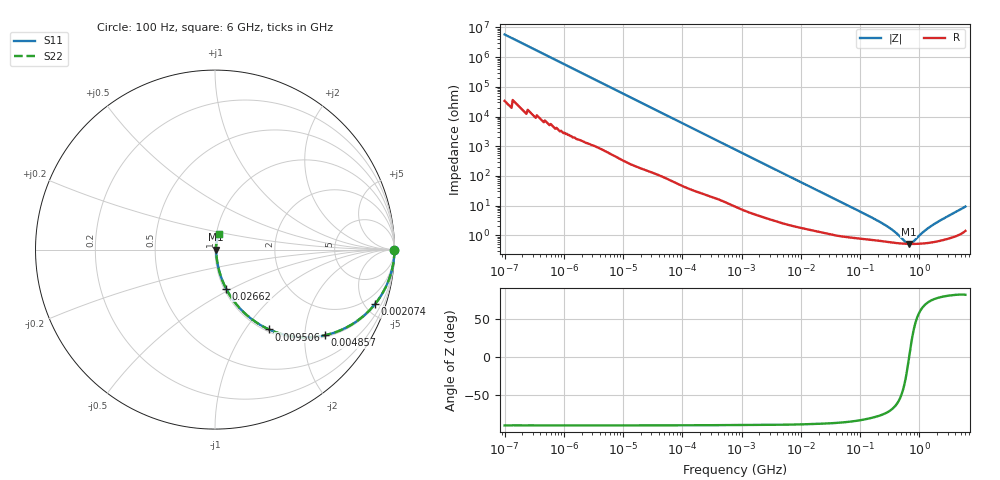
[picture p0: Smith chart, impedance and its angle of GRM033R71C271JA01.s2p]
!Murata Part Number: GRM033R71C271JA01
!These Parameters are Measured in Series Mode Connection
!Data Generated on Mar 30, 2021
!  o--ll--o
!Port1  Port2
!  o------o
!Operation Temp=25[degC], DC Bias Voltage=0[V]
!Freq. Start=100[Hz] Stop=6[GHz] 401[Steps]
# Hz S RI R 50
!Freq.(Hz) S11(Real) S11(Imag) S21(Real) S21(Imag) S12(Real) S12(Imag) S22(Real) S22(Imag)
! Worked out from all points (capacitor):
!   401 points, 100 Hz to 6 GHz, reference 50 ohm
!   read as one part in series: C = 274 pF near 109 Hz
!   lowest |Z| = 515 mohm at 668.8 MHz (marker M1)
!   series resonance near 674.5 MHz, so ESL is about 200 pH
!   S11 on the Smith chart (normalised r, x): 100 Hz: open; 2.074 MHz: 1.09, -5.86; 4.857 MHz: 1.05, -2.52; 9.506 MHz: 1.04, -1.30; 26.62 MHz: 1.02, -0.47; 6 GHz: 1.03, +0.18
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100  1 -1.72e-05  1e-07 1.72e-05  1e-07 1.72e-05  1 -1.72e-05
573  1 -9.79e-05  5e-07 9.79e-05  5e-07 9.79e-05  1 -9.79e-05
2008  1 -0.000342  1.9e-06 0.000342  1.9e-06 0.000342  1 -0.000342
40335  0.9999 -0.00679  9.48e-05 0.00679  9.48e-05 0.00679  0.9999 -0.00679
241822  0.998 -0.0403  0.00201 0.0403  0.00201 0.0403  0.998 -0.0403
774597  0.9824 -0.1258  0.0176 0.1258  0.0176 0.1258  0.9824 -0.1258
2074311  0.8921 -0.3029  0.1079 0.3029  0.1079 0.3029  0.8921 -0.3029
3103719  0.7902 -0.3986  0.2098 0.3986  0.2098 0.3986  0.7902 -0.3986
4856642  0.6116 -0.4773  0.3884 0.4773  0.3884 0.4773  0.6116 -0.4773
6644369  0.4615 -0.487  0.5385 0.487  0.5385 0.487  0.4615 -0.487
9506416  0.301 -0.4449  0.699 0.4449  0.699 0.4449  0.301 -0.4449
1.555665e7  0.1462 -0.3354  0.8538 0.3354  0.8538 0.3354  0.1462 -0.3354
2.662322e7  0.0619 -0.2177  0.9381 0.2177  0.9381 0.2177  0.0619 -0.2177
7.455971e7  0.0151 -0.0824  0.9849 0.0824  0.9849 0.0824  0.0151 -0.0824
1.909225e8  0.00765 -0.0313  0.9924 0.0313  0.9924 0.0313  0.00765 -0.0313
3.124326e8  0.00611 -0.0168  0.9939 0.0168  0.9939 0.0168  0.00611 -0.0168
5.847788e8  0.00518 -0.0029  0.9948 0.0029  0.9948 0.0029  0.00518 -0.0029
6.688484e8  0.00512 -0.000167  0.9949 0.000167  0.9949 0.000167  0.00512 -0.000167
7.650043e8  0.00511 0.00257  0.9949 -0.00257  0.9949 -0.00257  0.00511 0.00257
1.197065e9  0.00546 0.0123  0.9945 -0.0123  0.9945 -0.0123  0.00546 0.0123
1.712697e9  0.0063 0.0217  0.9937 -0.0217  0.9937 -0.0217  0.0063 0.0217
6e9  0.022 0.0891  0.978 -0.0891  0.978 -0.0891  0.022 0.0891
